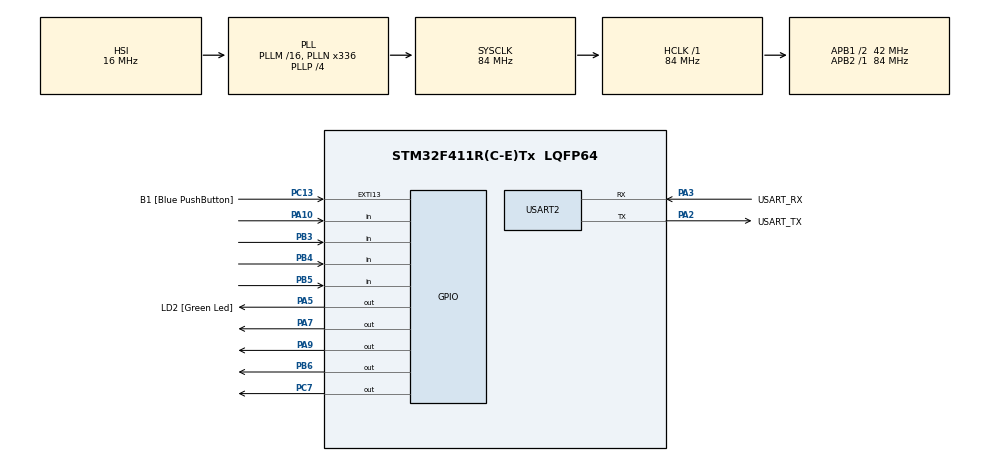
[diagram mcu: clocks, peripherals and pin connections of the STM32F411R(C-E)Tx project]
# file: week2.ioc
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Mcu.Family=STM32F4
Mcu.Name=STM32F411R(C-E)Tx
Mcu.Package=LQFP64
NVIC.PriorityGroup=NVIC_PRIORITYGROUP_0
PA10.GPIO_PuPd=GPIO_PULLUP
PA10.Signal=GPIO_Input
PA13.GPIO_Label=TMS
PA13.Mode=Serial_Wire
PA13.Signal=SYS_JTMS-SWDIO
PA14.GPIO_Label=TCK
PA14.Mode=Serial_Wire
PA14.Signal=SYS_JTCK-SWCLK
PA2.GPIO_Label=USART_TX
PA2.Mode=Asynchronous
PA2.Signal=USART2_TX
PA3.GPIO_Label=USART_RX
PA3.Mode=Asynchronous
PA3.Signal=USART2_RX
PA5.GPIO_Label=LD2 [Green Led]
PA5.PinState=GPIO_PIN_RESET
PA5.Signal=GPIO_Output
PA7.PinState=GPIO_PIN_SET
PA7.Signal=GPIO_Output
PA9.PinState=GPIO_PIN_SET
PA9.Signal=GPIO_Output
PB3.GPIO_PuPd=GPIO_PULLUP
PB3.Signal=GPIO_Input
PB4.GPIO_PuPd=GPIO_PULLUP
PB4.Signal=GPIO_Input
PB5.GPIO_PuPd=GPIO_PULLUP
PB5.Signal=GPIO_Input
PB6.PinState=GPIO_PIN_SET
PB6.Signal=GPIO_Output
PC13-ANTI_TAMP.GPIO_Label=B1 [Blue PushButton]
PC13-ANTI_TAMP.GPIO_ModeDefaultEXTI=GPIO_MODE_IT_FALLING
PC13-ANTI_TAMP.Signal=GPXTI13
PC14-OSC32_IN.Mode=LSE-External-Oscillator
PC14-OSC32_IN.Signal=RCC_OSC32_IN
PC15-OSC32_OUT.Mode=LSE-External-Oscillator
PC15-OSC32_OUT.Signal=RCC_OSC32_OUT
PC7.PinState=GPIO_PIN_SET
PC7.Signal=GPIO_Output
PH0\ -\ OSC_IN.Mode=HSE-External-Clock-Source
PH0\ -\ OSC_IN.Signal=RCC_OSC_IN
PH1\ -\ OSC_OUT.Mode=HSE-External-Clock-Source
PH1\ -\ OSC_OUT.Signal=RCC_OSC_OUT
ProjectManager.HeapSize=0x200
ProjectManager.StackSize=0x400
ProjectManager.TargetToolchain=STM32CubeIDE
RCC.48MHZClocksFreq_Value=84000000
RCC.AHBFreq_Value=84000000
RCC.APB1CLKDivider=RCC_HCLK_DIV2
RCC.APB1Freq_Value=42000000
RCC.APB1TimFreq_Value=84000000
RCC.APB2Freq_Value=84000000
RCC.APB2TimFreq_Value=84000000
RCC.CortexFreq_Value=84000000
RCC.FLatency-AdvancedSettings=FLASH_LATENCY_2
RCC.HCLKFreq_Value=84000000
RCC.HSE_VALUE=8000000
RCC.HSI_VALUE=16000000
RCC.PLLN=336
RCC.PLLP=RCC_PLLP_DIV4
RCC.SYSCLKFreq_VALUE=84000000
RCC.SYSCLKSource=RCC_SYSCLKSOURCE_PLLCLK
RCC.VCOOutputFreq_Value=336000000
USART2.VirtualMode=VM_ASYNC
board=NUCLEO-F411RE

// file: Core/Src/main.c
/* USER CODE BEGIN Header */
/**
  ******************************************************************************
  * @file           : main.c
  * @brief          : Main program body
  ******************************************************************************
  * @attention
  *
  * <h2><center>&copy; Copyright (c) 2021 STMicroelectronics.
  * All rights reserved.</center></h2>
  *
  * This software component is licensed by ST under BSD 3-Clause license,
  * the "License"; You may not use this file except in compliance with the
  * License. You may obtain a copy of the License at:
  *                        opensource.org/licenses/BSD-3-Clause
  *
  ******************************************************************************
  */
/* USER CODE END Header */
#include "main.h"

UART_HandleTypeDef huart2;

/* USER CODE BEGIN PV */
// Button matrix save
uint16_t ButtonMatrixState=0;
uint32_t ButtonMatrixTimestamp =0;
uint16_t Password = 12;
uint16_t PasswordIN = 0;
uint32_t SwitchState1=0;
uint32_t SwitchState0=0;
int count = 0;
/* USER CODE END PV */

void SystemClock_Config(void);
static void MX_GPIO_Init(void);
static void MX_USART2_UART_Init(void);
/* USER CODE BEGIN PFP */
void ButtonMatrixUpdate();
/* USER CODE END PFP */

int main(void)
{

  /* MCU Configuration--------------------------------------------------------*/

  /* Reset of all peripherals, Initializes the Flash interface and the Systick. */
  HAL_Init();

  /* Configure the system clock */
  SystemClock_Config();

  /* Initialize all configured peripherals */
  MX_GPIO_Init();
  MX_USART2_UART_Init();

  /* Infinite loop */
  while (1)
  {

    /* USER CODE BEGIN 3 */
	  ButtonMatrixUpdate();
	  SwitchState0 = ButtonMatrixState;
	  if(SwitchState0!=0 && SwitchState1==0){
		  count+=1;
		  if(SwitchState0==512 && count==1){
			  PasswordIN += 1;
		  }else if(SwitchState0==64 && count==2){
			  PasswordIN += 1;
		  }else if(SwitchState0==32 && count==3){
			  PasswordIN += 1;
		  }else if(SwitchState0==2048 && count==4){
			  PasswordIN += 1;
		  }else if(SwitchState0==8 && count==5){
			  PasswordIN += 1;
		  }else if(SwitchState0==1024 && count==6){
			  PasswordIN += 1;
		  }else if(SwitchState0==8 && count==7){
			  PasswordIN += 1;
		  }else if(SwitchState0==8 && count==8){
			  PasswordIN += 1;
		  }else if(SwitchState0==8 && count==9){
			  PasswordIN += 1;
		  }else if(SwitchState0==32 && count==10){
			  PasswordIN += 1;
		  }else if(SwitchState0==1024 && count==11){
			  PasswordIN += 1;
		  }else if(SwitchState0==1 && count==12 && PasswordIN ==11){
			  PasswordIN += 1;
		  }else if(SwitchState0==4096){
			  PasswordIN = 0;
			  count=0;
		  }
	  }SwitchState1= SwitchState0;
	  if(PasswordIN==Password && count==12){
	 		  HAL_GPIO_WritePin(GPIOA, GPIO_PIN_5, GPIO_PIN_SET);
	 	  }else{
	 		  HAL_GPIO_WritePin(GPIOA, GPIO_PIN_5, GPIO_PIN_RESET);
	 	  }

  }
  /* USER CODE END 3 */
}

void SystemClock_Config(void)
{
  RCC_OscInitTypeDef RCC_OscInitStruct = {0};
  RCC_ClkInitTypeDef RCC_ClkInitStruct = {0};

  /** Configure the main internal regulator output voltage
  */
  __HAL_RCC_PWR_CLK_ENABLE();
  __HAL_PWR_VOLTAGESCALING_CONFIG(PWR_REGULATOR_VOLTAGE_SCALE1);
  /** Initializes the RCC Oscillators according to the specified parameters
  * in the RCC_OscInitTypeDef structure.
  */
  RCC_OscInitStruct.OscillatorType = RCC_OSCILLATORTYPE_HSI;
  RCC_OscInitStruct.HSIState = RCC_HSI_ON;
  RCC_OscInitStruct.HSICalibrationValue = RCC_HSICALIBRATION_DEFAULT;
  RCC_OscInitStruct.PLL.PLLState = RCC_PLL_ON;
  RCC_OscInitStruct.PLL.PLLSource = RCC_PLLSOURCE_HSI;
  RCC_OscInitStruct.PLL.PLLM = 16;
  RCC_OscInitStruct.PLL.PLLN = 336;
  RCC_OscInitStruct.PLL.PLLP = RCC_PLLP_DIV4;
  RCC_OscInitStruct.PLL.PLLQ = 4;
  if (HAL_RCC_OscConfig(&RCC_OscInitStruct) != HAL_OK)
  {
    Error_Handler();
  }
  /** Initializes the CPU, AHB and APB buses clocks
  */
  RCC_ClkInitStruct.ClockType = RCC_CLOCKTYPE_HCLK|RCC_CLOCKTYPE_SYSCLK
                              |RCC_CLOCKTYPE_PCLK1|RCC_CLOCKTYPE_PCLK2;
  RCC_ClkInitStruct.SYSCLKSource = RCC_SYSCLKSOURCE_PLLCLK;
  RCC_ClkInitStruct.AHBCLKDivider = RCC_SYSCLK_DIV1;
  RCC_ClkInitStruct.APB1CLKDivider = RCC_HCLK_DIV2;
  RCC_ClkInitStruct.APB2CLKDivider = RCC_HCLK_DIV1;

  if (HAL_RCC_ClockConfig(&RCC_ClkInitStruct, FLASH_LATENCY_2) != HAL_OK)
  {
    Error_Handler();
  }
}

static void MX_USART2_UART_Init(void)
{

  huart2.Instance = USART2;
  huart2.Init.BaudRate = 115200;
  huart2.Init.WordLength = UART_WORDLENGTH_8B;
  huart2.Init.StopBits = UART_STOPBITS_1;
  huart2.Init.Parity = UART_PARITY_NONE;
  huart2.Init.Mode = UART_MODE_TX_RX;
  huart2.Init.HwFlowCtl = UART_HWCONTROL_NONE;
  huart2.Init.OverSampling = UART_OVERSAMPLING_16;
  if (HAL_UART_Init(&huart2) != HAL_OK)
  {
    Error_Handler();
  }

}

static void MX_GPIO_Init(void)
{
  GPIO_InitTypeDef GPIO_InitStruct = {0};

  /* GPIO Ports Clock Enable */
  __HAL_RCC_GPIOC_CLK_ENABLE();
  __HAL_RCC_GPIOH_CLK_ENABLE();
  __HAL_RCC_GPIOA_CLK_ENABLE();
  __HAL_RCC_GPIOB_CLK_ENABLE();

  /*Configure GPIO pin Output Level */
  HAL_GPIO_WritePin(LD2_GPIO_Port, LD2_Pin, GPIO_PIN_RESET);

  /*Configure GPIO pin Output Level */
  HAL_GPIO_WritePin(GPIOA, GPIO_PIN_7|GPIO_PIN_9, GPIO_PIN_SET);

  /*Configure GPIO pin Output Level */
  HAL_GPIO_WritePin(GPIOC, GPIO_PIN_7, GPIO_PIN_SET);

  /*Configure GPIO pin Output Level */
  HAL_GPIO_WritePin(GPIOB, GPIO_PIN_6, GPIO_PIN_SET);

  /*Configure GPIO pin : B1_Pin */
  GPIO_InitStruct.Pin = B1_Pin;
  GPIO_InitStruct.Mode = GPIO_MODE_IT_FALLING;
  GPIO_InitStruct.Pull = GPIO_NOPULL;
  HAL_GPIO_Init(B1_GPIO_Port, &GPIO_InitStruct);

  /*Configure GPIO pins : LD2_Pin PA7 PA9 */
  GPIO_InitStruct.Pin = LD2_Pin|GPIO_PIN_7|GPIO_PIN_9;
  GPIO_InitStruct.Mode = GPIO_MODE_OUTPUT_PP;
  GPIO_InitStruct.Pull = GPIO_NOPULL;
  GPIO_InitStruct.Speed = GPIO_SPEED_FREQ_LOW;
  HAL_GPIO_Init(GPIOA, &GPIO_InitStruct);

  /*Configure GPIO pin : PC7 */
  GPIO_InitStruct.Pin = GPIO_PIN_7;
  GPIO_InitStruct.Mode = GPIO_MODE_OUTPUT_PP;
  GPIO_InitStruct.Pull = GPIO_NOPULL;
  GPIO_InitStruct.Speed = GPIO_SPEED_FREQ_LOW;
  HAL_GPIO_Init(GPIOC, &GPIO_InitStruct);

  /*Configure GPIO pin : PA10 */
  GPIO_InitStruct.Pin = GPIO_PIN_10;
  GPIO_InitStruct.Mode = GPIO_MODE_INPUT;
  GPIO_InitStruct.Pull = GPIO_PULLUP;
  HAL_GPIO_Init(GPIOA, &GPIO_InitStruct);

  /*Configure GPIO pins : PB3 PB4 PB5 */
  GPIO_InitStruct.Pin = GPIO_PIN_3|GPIO_PIN_4|GPIO_PIN_5;
  GPIO_InitStruct.Mode = GPIO_MODE_INPUT;
  GPIO_InitStruct.Pull = GPIO_PULLUP;
  HAL_GPIO_Init(GPIOB, &GPIO_InitStruct);

  /*Configure GPIO pin : PB6 */
  GPIO_InitStruct.Pin = GPIO_PIN_6;
  GPIO_InitStruct.Mode = GPIO_MODE_OUTPUT_PP;
  GPIO_InitStruct.Pull = GPIO_NOPULL;
  GPIO_InitStruct.Speed = GPIO_SPEED_FREQ_LOW;
  HAL_GPIO_Init(GPIOB, &GPIO_InitStruct);

}

/* USER CODE BEGIN 4 */
GPIO_TypeDef* ButtonMatrixPort[8] = {GPIOA,GPIOB,GPIOB,GPIOB,GPIOA,GPIOC,GPIOB,GPIOA};
uint16_t ButtonMatrixPin[8] ={GPIO_PIN_10,GPIO_PIN_3,GPIO_PIN_5,GPIO_PIN_4,GPIO_PIN_9,GPIO_PIN_7,GPIO_PIN_6,GPIO_PIN_7};
uint8_t ButtonMatrixRow = 0;
void ButtonMatrixUpdate()
{
   if(HAL_GetTick()-ButtonMatrixTimestamp>=20){
	   ButtonMatrixTimestamp=HAL_GetTick();
	   int i;
	   for(i=0;i<4;i++)
	   {
	   GPIO_PinState PinState = HAL_GPIO_ReadPin(ButtonMatrixPort[i], ButtonMatrixPin[i]);
	   if(PinState == GPIO_PIN_RESET)
	   {
		  ButtonMatrixState |= (uint16_t)1 <<(i+(ButtonMatrixRow*4));
	   }
	   else{
		   ButtonMatrixState &= ~((uint16_t)1 <<(i+(ButtonMatrixRow*4)));
	   }
   }
	   uint8_t NowOutputPin = ButtonMatrixRow + 4;
	   //Set Rn
	   HAL_GPIO_WritePin(ButtonMatrixPort[NowOutputPin], ButtonMatrixPin[NowOutputPin], GPIO_PIN_SET);
	   //update new row
	   ButtonMatrixRow = (ButtonMatrixRow+1)%4;
	   uint8_t NextOutputPin = ButtonMatrixRow +4;
	   HAL_GPIO_WritePin(ButtonMatrixPort[NextOutputPin], ButtonMatrixPin[NextOutputPin], GPIO_PIN_RESET);
}
}
/* USER CODE END 4 */

void Error_Handler(void)
{
  __disable_irq();
  while (1)
  {
  }
}

/************************ (C) COPYRIGHT STMicroelectronics *****END OF FILE****/
